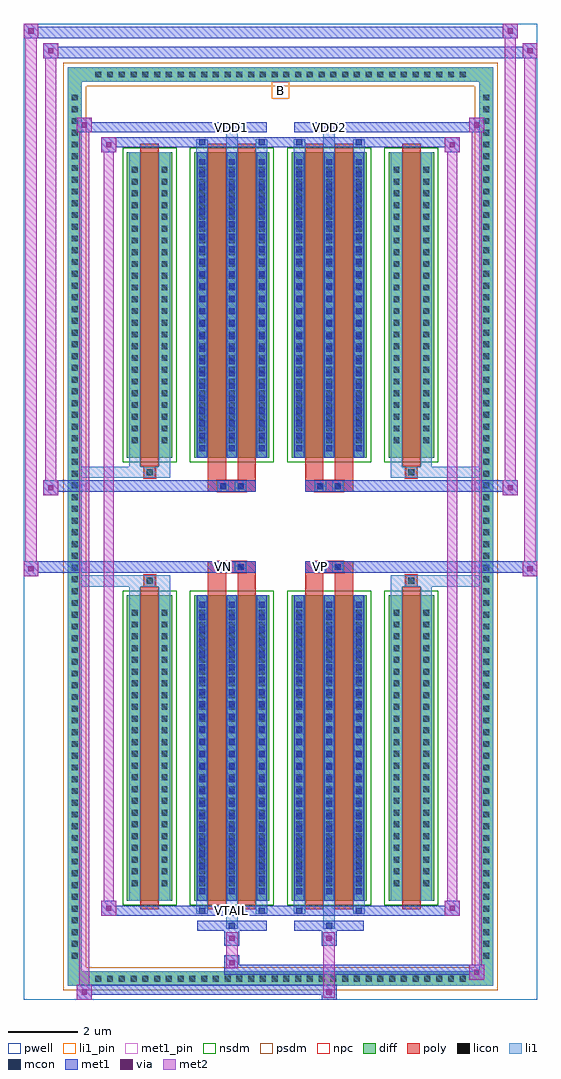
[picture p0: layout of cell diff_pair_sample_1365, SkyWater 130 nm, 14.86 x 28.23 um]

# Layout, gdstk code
import gdstk
lib = gdstk.Library(unit=1e-6, precision=5e-09)
def R(c, l, rs):  # rectangles x0, y0, x1, y1
    for r in rs: c.add(gdstk.rectangle(r[:2], r[2:], *l))
def A(c, l, x, y, w, h, nx, ny, dx, dy):  # array of equal rectangles
    R(c, l, [(x+i*dx, y+j*dy, x+i*dx+w, y+j*dy+h) for i in range(nx) for j in range(ny)])
def P(c, l, *ps):  # polygons
    for p in ps: c.add(gdstk.Polygon(p, *l))
pwell = (64, 44)
diff = (65, 20)
poly = (66, 20)
licon = (66, 44)
li1_pin = (67, 16)
li1 = (67, 20)
mcon = (67, 44)
met1_pin = (68, 16)
met1 = (68, 20)
via = (68, 44)
met2 = (69, 20)
nsdm = (93, 44)
psdm = (94, 20)
npc = (95, 20)

diff_pair_sample_1365 = lib.new_cell('diff_pair_sample_1365')
R(diff_pair_sample_1365, pwell, [(-7.43,-13.68,7.43,14.55), (-4.75,-11.87,-0.01,-0.805), (0.01,-11.87,4.75,-0.805), (-4.75,0.805,-0.01,11.87), (0.01,0.805,4.75,11.87)])
A(diff_pair_sample_1365, diff, -5.475, -13.28, 0.41, 0.41, 32, 2, 0.34, 26.15)
A(diff_pair_sample_1365, diff, -6.16, -12.615, 0.41, 0.41, 1, 74, 0, 0.34)
A(diff_pair_sample_1365, diff, 5.75, -12.615, 0.41, 0.41, 1, 74, 0, 0.34)
R(diff_pair_sample_1365, diff, [(-5.475,-13.28,5.475,-12.87), (-6.16,-12.615,-5.75,12.615), (5.75,-12.615,6.16,12.615), (-4.44,-10.825,-3.13,-1.985), (-2.49,-10.825,-0.32,-1.985), (0.32,-10.825,2.49,-1.985), (3.13,-10.825,4.44,-1.985), (-4.44,1.985,-3.13,10.825), (-2.49,1.985,-0.32,10.825), (0.32,1.985,2.49,10.825), (3.13,1.985,4.44,10.825), (-5.475,12.87,5.475,13.28)])
P(diff_pair_sample_1365, diff, [(6.16,13.28),(-6.16,13.28),(-6.16,-12.87),(-5.75,-12.87),(-5.75,12.87),(5.75,12.87),(5.75,-12.87),(-5.75,-12.87),(-6.16,-12.87),(-6.16,-13.28),(6.16,-13.28)])
R(diff_pair_sample_1365, poly, [(-4.05,-11.075,-3.52,-1.735), (-2.1,-11.075,-1.57,-1.735), (-1.24,-11.075,-0.71,-1.735), (0.71,-11.075,1.24,-1.735), (1.57,-11.075,2.1,-1.735), (3.52,-11.075,4.05,-1.735), (-3.95,-1.735,-3.62,-1.405), (-3.95,-1.735,-3.62,-1.405), (-2.1,-1.735,-1.57,-1.335), (-1.24,-1.735,-0.71,-1.335), (0.71,-1.735,1.24,-1.335), (1.57,-1.735,2.1,-1.335), (3.62,-1.735,3.95,-1.405), (3.62,-1.735,3.95,-1.405), (-2.1,-1.335,-0.71,-1.005), (-1.82,-1.335,-1.49,-1.005), (-1.32,-1.335,-0.99,-1.005), (0.71,-1.335,2.1,-1.005), (0.99,-1.335,1.32,-1.005), (1.49,-1.335,1.82,-1.005), (-2.1,1.005,-0.71,1.335), (-1.82,1.005,-1.49,1.335), (-1.32,1.005,-0.99,1.335), (0.71,1.005,2.1,1.335), (0.99,1.005,1.32,1.335), (1.49,1.005,1.82,1.335), (-2.1,1.335,-1.57,1.735), (-1.24,1.335,-0.71,1.735), (0.71,1.335,1.24,1.735), (1.57,1.335,2.1,1.735), (-3.95,1.405,-3.62,1.735), (-3.95,1.405,-3.62,1.735), (3.62,1.405,3.95,1.735), (3.62,1.405,3.95,1.735), (-4.05,1.735,-3.52,11.075), (-2.1,1.735,-1.57,11.075), (-1.24,1.735,-0.71,11.075), (0.71,1.735,1.24,11.075), (1.57,1.735,2.1,11.075), (3.52,1.735,4.05,11.075)])
A(diff_pair_sample_1365, licon, -5.355, -13.16, 0.17, 0.17, 32, 2, 0.34, 26.15)
A(diff_pair_sample_1365, licon, -6.04, -12.495, 0.17, 0.17, 1, 74, 0, 0.34)
A(diff_pair_sample_1365, licon, 5.87, -12.495, 0.17, 0.17, 1, 74, 0, 0.34)
A(diff_pair_sample_1365, licon, -4.3, -10.4, 0.17, 0.17, 1, 24, 0, 0.34)
A(diff_pair_sample_1365, licon, -3.44, -10.4, 0.17, 0.17, 1, 24, 0, 0.34)
A(diff_pair_sample_1365, licon, -2.35, -10.4, 0.17, 0.17, 3, 24, 0.86, 0.34)
A(diff_pair_sample_1365, licon, 0.46, -10.4, 0.17, 0.17, 3, 24, 0.86, 0.34)
A(diff_pair_sample_1365, licon, 3.27, -10.4, 0.17, 0.17, 1, 24, 0, 0.34)
A(diff_pair_sample_1365, licon, 4.13, -10.4, 0.17, 0.17, 1, 24, 0, 0.34)
A(diff_pair_sample_1365, licon, -4.3, 2.41, 0.17, 0.17, 1, 24, 0, 0.34)
A(diff_pair_sample_1365, licon, -3.44, 2.41, 0.17, 0.17, 1, 24, 0, 0.34)
A(diff_pair_sample_1365, licon, -2.35, 2.41, 0.17, 0.17, 3, 24, 0.86, 0.34)
A(diff_pair_sample_1365, licon, 0.46, 2.41, 0.17, 0.17, 3, 24, 0.86, 0.34)
A(diff_pair_sample_1365, licon, 3.27, 2.41, 0.17, 0.17, 1, 24, 0, 0.34)
A(diff_pair_sample_1365, licon, 4.13, 2.41, 0.17, 0.17, 1, 24, 0, 0.34)
R(diff_pair_sample_1365, licon, [(-3.87,-1.655,-3.7,-1.485), (3.7,-1.655,3.87,-1.485), (-1.74,-1.255,-1.57,-1.085), (-1.24,-1.255,-1.07,-1.085), (1.07,-1.255,1.24,-1.085), (1.57,-1.255,1.74,-1.085), (-1.74,1.085,-1.57,1.255), (-1.24,1.085,-1.07,1.255), (1.07,1.085,1.24,1.255), (1.57,1.085,1.74,1.255), (-3.87,1.485,-3.7,1.655), (3.7,1.485,3.87,1.655)])
R(diff_pair_sample_1365, li1_pin, [(-0.25,12.37,0.25,12.87)])
A(diff_pair_sample_1365, li1, -5.435, -13.24, 0.33, 0.33, 32, 2, 0.34, 26.15)
A(diff_pair_sample_1365, li1, -6.12, -12.575, 0.33, 0.33, 1, 74, 0, 0.34)
A(diff_pair_sample_1365, li1, 5.79, -12.575, 0.33, 0.33, 1, 74, 0, 0.34)
A(diff_pair_sample_1365, li1, -2.43, -10.825, 0.33, 8.84, 3, 2, 0.86, 12.81)
A(diff_pair_sample_1365, li1, 0.38, -10.825, 0.33, 8.84, 3, 2, 0.86, 12.81)
A(diff_pair_sample_1365, li1, -2.35, -10.63, 0.17, 0.17, 3, 24, 0.86, 0.36)
A(diff_pair_sample_1365, li1, -2.35, -10.63, 0.17, 8.45, 3, 2, 0.86, 12.81)
A(diff_pair_sample_1365, li1, 0.46, -10.63, 0.17, 0.17, 3, 24, 0.86, 0.36)
A(diff_pair_sample_1365, li1, 0.46, -10.63, 0.17, 8.45, 3, 2, 0.86, 12.81)
A(diff_pair_sample_1365, li1, -4.38, -10.48, 0.33, 0.33, 1, 24, 0, 0.34)
A(diff_pair_sample_1365, li1, -3.52, -10.48, 0.33, 0.33, 1, 24, 0, 0.34)
A(diff_pair_sample_1365, li1, -2.43, -10.48, 0.33, 0.33, 3, 24, 0.86, 0.34)
A(diff_pair_sample_1365, li1, 0.38, -10.48, 0.33, 0.33, 3, 24, 0.86, 0.34)
A(diff_pair_sample_1365, li1, 3.19, -10.48, 0.33, 0.33, 1, 24, 0, 0.34)
A(diff_pair_sample_1365, li1, 4.05, -10.48, 0.33, 0.33, 1, 24, 0, 0.34)
A(diff_pair_sample_1365, li1, -2.35, 2.18, 0.17, 0.17, 3, 24, 0.86, 0.36)
A(diff_pair_sample_1365, li1, 0.46, 2.18, 0.17, 0.17, 3, 24, 0.86, 0.36)
A(diff_pair_sample_1365, li1, -4.38, 2.33, 0.33, 0.33, 1, 24, 0, 0.34)
A(diff_pair_sample_1365, li1, -3.52, 2.33, 0.33, 0.33, 1, 24, 0, 0.34)
A(diff_pair_sample_1365, li1, -2.43, 2.33, 0.33, 0.33, 3, 24, 0.86, 0.34)
A(diff_pair_sample_1365, li1, 0.38, 2.33, 0.33, 0.33, 3, 24, 0.86, 0.34)
A(diff_pair_sample_1365, li1, 3.19, 2.33, 0.33, 0.33, 1, 24, 0, 0.34)
A(diff_pair_sample_1365, li1, 4.05, 2.33, 0.33, 0.33, 1, 24, 0, 0.34)
R(diff_pair_sample_1365, li1, [(-6.16,-13.28,-5.75,-12.87), (-6.16,-13.28,-5.75,-12.87), (-5.75,-13.28,5.75,-12.87), (5.75,-13.28,6.16,-12.87), (5.75,-13.28,6.16,-12.87), (-6.16,-12.87,-5.75,12.87), (5.75,-12.87,6.16,12.87), (-1.57,-11.63,-1.24,-10.825), (-1.49,-11.63,-1.32,-11.46), (1.24,-11.63,1.57,-10.825), (1.32,-11.63,1.49,-11.46), (-2.43,-11.2,-2.1,-10.825), (-2.35,-11.2,-2.18,-11.03), (-0.71,-11.2,-0.38,-10.825), (-0.63,-11.2,-0.46,-11.03), (0.38,-11.2,0.71,-10.825), (0.46,-11.2,0.63,-11.03), (2.1,-11.2,2.43,-10.825), (2.18,-11.2,2.35,-11.03), (-4.38,-10.825,-4.05,-1.985), (-3.52,-10.825,-3.19,-1.985), (3.19,-10.825,3.52,-1.985), (4.05,-10.825,4.38,-1.985), (-4.38,-1.985,-4.05,-1.405), (-3.52,-1.985,-3.19,-1.405), (3.19,-1.985,3.52,-1.405), (4.05,-1.985,4.38,-1.405), (-6.16,-1.735,-3.95,-1.405), (-4.38,-1.735,-3.95,-1.405), (-3.95,-1.735,-3.62,-1.405), (-3.62,-1.735,-3.19,-1.405), (3.19,-1.735,3.62,-1.405), (3.62,-1.735,3.95,-1.405), (3.62,-1.735,6.16,-1.405), (3.95,-1.735,4.38,-1.405), (-1.82,-1.335,-1.49,-1.005), (-1.32,-1.335,-0.99,-1.005), (0.99,-1.335,1.32,-1.005), (1.49,-1.335,1.82,-1.005), (-1.82,1.005,-1.49,1.335), (-1.32,1.005,-0.99,1.335), (0.99,1.005,1.32,1.335), (1.49,1.005,1.82,1.335), (-6.16,1.405,-3.95,1.735), (-4.38,1.405,-3.95,1.735), (-4.38,1.405,-4.05,1.985), (-3.95,1.405,-3.62,1.735), (-3.62,1.405,-3.19,1.735), (-3.52,1.405,-3.19,1.985), (3.19,1.405,3.62,1.735), (3.19,1.405,3.52,1.985), (3.62,1.405,3.95,1.735), (3.62,1.405,6.16,1.735), (3.95,1.405,4.38,1.735), (4.05,1.405,4.38,1.985), (-4.38,1.985,-4.05,10.825), (-3.52,1.985,-3.19,10.825), (3.19,1.985,3.52,10.825), (4.05,1.985,4.38,10.825), (-2.43,10.825,-2.1,11.2), (-1.57,10.825,-1.24,11.63), (-0.71,10.825,-0.38,11.2), (0.38,10.825,0.71,11.2), (1.24,10.825,1.57,11.63), (2.1,10.825,2.43,11.2), (-2.35,11.03,-2.18,11.2), (-0.63,11.03,-0.46,11.2), (0.46,11.03,0.63,11.2), (2.18,11.03,2.35,11.2), (-1.49,11.46,-1.32,11.63), (1.32,11.46,1.49,11.63), (-6.16,12.87,-5.75,13.28), (-6.16,12.87,-5.75,13.28), (-5.75,12.87,5.75,13.28), (5.75,12.87,6.16,13.28), (5.75,12.87,6.16,13.28)])
A(diff_pair_sample_1365, mcon, -2.35, -10.63, 0.17, 0.17, 3, 24, 0.86, 0.36)
A(diff_pair_sample_1365, mcon, 0.46, -10.63, 0.17, 0.17, 3, 24, 0.86, 0.36)
A(diff_pair_sample_1365, mcon, -2.35, 2.18, 0.17, 0.17, 3, 24, 0.86, 0.36)
A(diff_pair_sample_1365, mcon, 0.46, 2.18, 0.17, 0.17, 3, 24, 0.86, 0.36)
R(diff_pair_sample_1365, mcon, [(-1.49,-11.63,-1.32,-11.46), (1.32,-11.63,1.49,-11.46), (-2.35,-11.2,-2.18,-11.03), (-0.63,-11.2,-0.46,-11.03), (0.46,-11.2,0.63,-11.03), (2.18,-11.2,2.35,-11.03), (-1.74,-1.255,-1.57,-1.085), (-1.24,-1.255,-1.07,-1.085), (1.07,-1.255,1.24,-1.085), (1.57,-1.255,1.74,-1.085), (-1.74,1.085,-1.57,1.255), (-1.24,1.085,-1.07,1.255), (1.07,1.085,1.24,1.255), (1.57,1.085,1.74,1.255), (-2.35,11.03,-2.18,11.2), (-0.63,11.03,-0.46,11.2), (0.46,11.03,0.63,11.2), (2.18,11.03,2.35,11.2), (-1.49,11.46,-1.32,11.63), (1.32,11.46,1.49,11.63)])
R(diff_pair_sample_1365, met1_pin, [(-1.54,-11.24,-1.27,-10.97), (-1.79,-1.295,-1.52,-1.025), (1.02,-1.295,1.29,-1.025), (-1.54,11.42,-1.27,11.69), (1.27,11.42,1.54,11.69)])
A(diff_pair_sample_1365, met1, -2.41, -10.825, 0.29, 8.84, 3, 2, 0.86, 12.81)
A(diff_pair_sample_1365, met1, 0.4, -10.825, 0.29, 8.84, 3, 2, 0.86, 12.81)
A(diff_pair_sample_1365, met1, -2.41, -10.69, 0.29, 0.29, 3, 24, 0.86, 0.36)
A(diff_pair_sample_1365, met1, 0.4, -10.69, 0.29, 0.29, 3, 24, 0.86, 0.36)
A(diff_pair_sample_1365, met1, -2.41, 2.12, 0.29, 0.29, 3, 24, 0.86, 0.36)
A(diff_pair_sample_1365, met1, 0.4, 2.12, 0.29, 0.29, 3, 24, 0.86, 0.36)
R(diff_pair_sample_1365, met1, [(-5.89,-13.68,-5.46,-13.25), (1.19,-13.68,1.62,-13.25), (-5.89,-13.54,1.62,-13.25), (5.46,-13.11,5.89,-12.68), (-1.62,-12.97,5.89,-12.68), (-1.62,-12.83,-1.19,-12.4), (-1.62,-12.12,-1.19,-11.69), (1.19,-12.12,1.62,-11.69), (-2.41,-11.69,-0.4,-11.4), (-1.55,-11.69,-1.26,-11.4), (0.4,-11.69,2.41,-11.4), (1.26,-11.69,1.55,-11.4), (-5.18,-11.26,-4.75,-10.83), (-5.18,-11.26,-2.41,-10.97), (-2.41,-11.26,-2.12,-10.97), (-2.41,-11.26,-0.4,-10.97), (-0.69,-11.26,-0.4,-10.97), (-0.4,-11.26,0.4,-10.97), (0.4,-11.26,0.69,-10.97), (0.4,-11.26,2.41,-10.97), (2.12,-11.26,2.41,-10.97), (2.41,-11.26,5.18,-10.97), (4.75,-11.26,5.18,-10.83), (-7.43,-1.435,-7,-1.005), (7,-1.435,7.43,-1.005), (-7.43,-1.335,-0.71,-1.005), (-2.1,-1.335,-0.71,-1.005), (0.71,-1.335,2.1,-1.005), (0.71,-1.335,7.43,-1.005), (-1.8,-1.315,-1.51,-1.025), (-1.3,-1.315,-1.01,-1.025), (1.01,-1.315,1.3,-1.025), (1.51,-1.315,1.8,-1.025), (-6.86,0.905,-6.43,1.335), (6.43,0.905,6.86,1.335), (-6.86,1.005,-2.1,1.335), (-2.1,1.005,-0.71,1.335), (0.71,1.005,2.1,1.335), (2.1,1.005,6.86,1.335), (-1.8,1.025,-1.51,1.315), (-1.3,1.025,-1.01,1.315), (1.01,1.025,1.3,1.315), (1.51,1.025,1.8,1.315), (-5.18,10.83,-4.75,11.26), (4.75,10.83,5.18,11.26), (-5.18,10.97,-2.41,11.26), (-2.41,10.97,-2.12,11.26), (-2.41,10.97,-0.4,11.26), (-0.69,10.97,-0.4,11.26), (-0.4,10.97,0.4,11.26), (0.4,10.97,0.69,11.26), (0.4,10.97,2.41,11.26), (2.12,10.97,2.41,11.26), (2.41,10.97,5.18,11.26), (-5.89,11.4,-5.46,11.83), (-5.89,11.4,-2.41,11.69), (-2.41,11.4,-0.4,11.69), (-1.55,11.4,-1.26,11.69), (0.4,11.4,2.41,11.69), (1.26,11.4,1.55,11.69), (2.41,11.4,5.89,11.69), (5.46,11.4,5.89,11.83), (-6.86,13.55,-6.43,13.98), (-6.86,13.55,-4.75,13.88), (-4.75,13.55,4.75,13.88), (4.75,13.55,7.43,13.88), (7,13.55,7.43,13.98), (-7.43,14.12,-7,14.55), (-7.43,14.12,-4.75,14.45), (-4.75,14.12,4.75,14.45), (4.75,14.12,6.86,14.45), (6.43,14.12,6.86,14.55)])
R(diff_pair_sample_1365, via, [(-5.75,-13.54,-5.6,-13.39), (1.33,-13.54,1.48,-13.39), (5.6,-12.97,5.75,-12.82), (-1.48,-12.69,-1.33,-12.54), (-1.48,-11.98,-1.33,-11.83), (1.33,-11.98,1.48,-11.83), (-5.04,-11.12,-4.89,-10.97), (4.89,-11.12,5.04,-10.97), (-7.29,-1.295,-7.14,-1.145), (7.14,-1.295,7.29,-1.145), (-6.72,1.045,-6.57,1.195), (6.57,1.045,6.72,1.195), (-5.04,10.97,-4.89,11.12), (4.89,10.97,5.04,11.12), (-5.75,11.54,-5.6,11.69), (5.6,11.54,5.75,11.69), (-6.72,13.69,-6.57,13.84), (7.14,13.69,7.29,13.84), (-7.29,14.26,-7.14,14.41), (6.57,14.26,6.72,14.41)])
R(diff_pair_sample_1365, met2, [(-5.89,-13.68,-5.46,-13.25), (-5.82,-13.68,-5.53,11.83), (-5.53,-13.68,-5.46,-13.25), (-5.84,-13.63,-5.51,-13.3), (1.24,-13.63,1.57,-13.3), (1.24,-13.3,1.57,-12.07), (5.46,-13.11,5.89,-12.68), (5.53,-13.11,5.82,11.83), (5.82,-13.11,5.89,-12.68), (5.51,-13.06,5.84,-12.73), (-1.57,-12.78,-1.24,-12.45), (-1.57,-12.45,-1.24,-12.07), (-1.57,-12.07,-1.24,-11.74), (1.24,-12.07,1.57,-11.74), (-5.18,-11.26,-4.75,-10.83), (-5.11,-11.26,-4.82,11.26), (-4.82,-11.26,-4.75,-10.83), (4.75,-11.26,5.18,-10.83), (4.82,-11.26,5.11,11.26), (5.11,-11.26,5.18,-10.83), (-5.13,-11.21,-4.8,-10.88), (4.8,-11.21,5.13,-10.88), (-7.43,-1.435,-7,-1.005), (-7.38,-1.435,-7.05,14.55), (-7.05,-1.435,-7,-1.005), (7,-1.435,7.43,-1.005), (7.05,-1.435,7.38,13.98), (7.38,-1.435,7.43,-1.005), (-7.38,-1.385,-7.05,-1.055), (7.05,-1.385,7.38,-1.055), (-6.86,0.905,-6.43,1.335), (-6.81,0.905,-6.48,13.98), (-6.48,0.905,-6.43,1.335), (6.43,0.905,6.86,1.335), (6.48,0.905,6.81,14.55), (6.81,0.905,6.86,1.335), (-6.81,0.955,-6.48,1.285), (6.48,0.955,6.81,1.285), (-5.18,10.83,-4.75,11.26), (-4.82,10.83,-4.75,11.26), (4.75,10.83,5.18,11.26), (5.11,10.83,5.18,11.26), (-5.13,10.88,-4.8,11.21), (4.8,10.88,5.13,11.21), (-5.89,11.4,-5.46,11.83), (-5.53,11.4,-5.46,11.83), (5.46,11.4,5.89,11.83), (5.82,11.4,5.89,11.83), (-5.84,11.45,-5.51,11.78), (5.51,11.45,5.84,11.78), (-6.86,13.55,-6.43,13.98), (-6.48,13.55,-6.43,13.98), (7,13.55,7.43,13.98), (7.38,13.55,7.43,13.98), (-6.81,13.6,-6.48,13.93), (7.05,13.6,7.38,13.93), (-7.43,14.12,-7,14.55), (-7.05,14.12,-7,14.55), (6.43,14.12,6.86,14.55), (6.81,14.12,6.86,14.55), (-7.38,14.17,-7.05,14.5), (6.48,14.17,6.81,14.5)])
R(diff_pair_sample_1365, nsdm, [(-4.57,-10.955,-3,-1.855), (-2.62,-10.955,-0.19,-1.855), (0.19,-10.955,2.62,-1.855), (3,-10.955,4.57,-1.855), (-4.57,1.855,-3,10.955), (-2.62,1.855,-0.19,10.955), (0.19,1.855,2.62,10.955), (3,1.855,4.57,10.955)])
P(diff_pair_sample_1365, psdm, [(6.29,13.41),(-6.29,13.41),(-6.29,-12.74),(-5.62,-12.74),(-5.62,12.74),(5.62,12.74),(5.62,-12.74),(-5.62,-12.74),(-6.29,-12.74),(-6.29,-13.41),(6.29,-13.41)])
R(diff_pair_sample_1365, npc, [(-3.97,-1.755,-3.6,-1.385), (3.6,-1.755,3.97,-1.385), (-1.84,-1.355,-1.47,-0.985), (-1.84,-1.355,-0.97,-0.985), (-1.84,-1.355,-0.97,-0.985), (-1.34,-1.355,-0.97,-0.985), (0.97,-1.355,1.34,-0.985), (0.97,-1.355,1.84,-0.985), (0.97,-1.355,1.84,-0.985), (1.47,-1.355,1.84,-0.985), (-1.84,0.985,-1.47,1.355), (-1.84,0.985,-0.97,1.355), (-1.84,0.985,-0.97,1.355), (-1.34,0.985,-0.97,1.355), (0.97,0.985,1.34,1.355), (0.97,0.985,1.84,1.355), (0.97,0.985,1.84,1.355), (1.47,0.985,1.84,1.355), (-3.97,1.385,-3.6,1.755), (3.6,1.385,3.97,1.755)])
diff_pair_sample_1365.add(gdstk.Label('VTAIL', (-1.405,-11.105), layer=68, texttype=5))
diff_pair_sample_1365.add(gdstk.Label('VN', (-1.655,-1.16), layer=68, texttype=5))
diff_pair_sample_1365.add(gdstk.Label('VP', (1.155,-1.16), layer=68, texttype=5))
diff_pair_sample_1365.add(gdstk.Label('B', (0,12.62), layer=67, texttype=5))
diff_pair_sample_1365.add(gdstk.Label('VDD2', (1.405,11.555), layer=68, texttype=5))
diff_pair_sample_1365.add(gdstk.Label('VDD1', (-1.405,11.555), layer=68, texttype=5))

lib.write_gds('diff_pair_sample_1365.gds')
